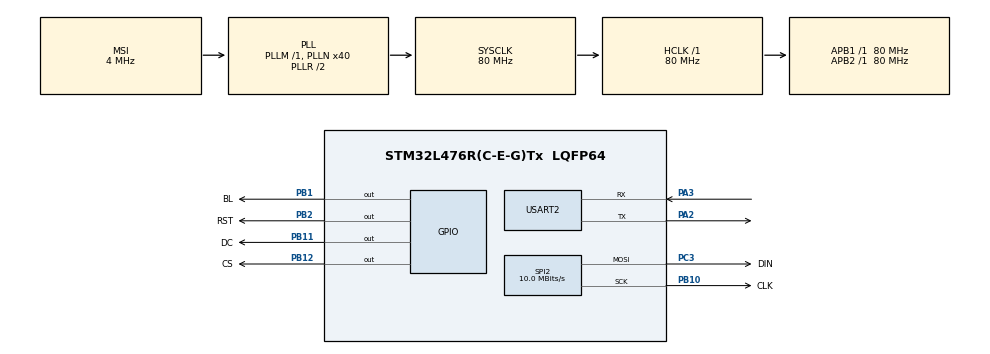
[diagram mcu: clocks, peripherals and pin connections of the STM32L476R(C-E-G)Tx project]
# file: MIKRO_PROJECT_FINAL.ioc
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Dma.Request0=SPI2_TX
Dma.SPI2_TX.0.Direction=DMA_MEMORY_TO_PERIPH
Dma.SPI2_TX.0.Instance=DMA1_Channel5
Dma.SPI2_TX.0.MemDataAlignment=DMA_MDATAALIGN_BYTE
Dma.SPI2_TX.0.MemInc=DMA_MINC_ENABLE
Dma.SPI2_TX.0.Mode=DMA_NORMAL
Dma.SPI2_TX.0.PeriphDataAlignment=DMA_PDATAALIGN_BYTE
Dma.SPI2_TX.0.PeriphInc=DMA_PINC_DISABLE
Dma.SPI2_TX.0.Priority=DMA_PRIORITY_LOW
Mcu.Family=STM32L4
Mcu.Name=STM32L476R(C-E-G)Tx
Mcu.Package=LQFP64
NVIC.DMA1_Channel5_IRQn=true\:2\:0\:true\:false\:true\:false\:true\:true
NVIC.PriorityGroup=NVIC_PRIORITYGROUP_4
NVIC.SPI2_IRQn=true\:2\:0\:true\:false\:true\:true\:true\:true
NVIC.USART2_IRQn=true\:1\:0\:true\:false\:true\:true\:true\:true
PA13\ (JTMS-SWDIO).Mode=Serial_Wire
PA13\ (JTMS-SWDIO).Signal=SYS_JTMS-SWDIO
PA14\ (JTCK-SWCLK).Mode=Serial_Wire
PA14\ (JTCK-SWCLK).Signal=SYS_JTCK-SWCLK
PA2.Mode=Asynchronous
PA2.Signal=USART2_TX
PA3.Mode=Asynchronous
PA3.Signal=USART2_RX
PB1.GPIO_Label=BL
PB1.PinState=GPIO_PIN_RESET
PB1.Signal=GPIO_Output
PB10.GPIO_Label=CLK
PB10.Mode=TX_Only_Simplex_Unidirect_Master
PB10.Signal=SPI2_SCK
PB11.GPIO_Label=DC
PB11.Signal=GPIO_Output
PB12.GPIO_Label=CS
PB12.Signal=GPIO_Output
PB2.GPIO_Label=RST
PB2.Signal=GPIO_Output
PC3.GPIO_Label=DIN
PC3.Mode=TX_Only_Simplex_Unidirect_Master
PC3.Signal=SPI2_MOSI
ProjectManager.HeapSize=0x300
ProjectManager.StackSize=0x1000
ProjectManager.TargetToolchain=STM32CubeIDE
RCC.AHBFreq_Value=80000000
RCC.APB1Freq_Value=80000000
RCC.APB1TimFreq_Value=80000000
RCC.APB2Freq_Value=80000000
RCC.APB2TimFreq_Value=80000000
RCC.CortexFreq_Value=80000000
RCC.HCLKFreq_Value=80000000
RCC.HSE_VALUE=8000000
RCC.HSI_VALUE=16000000
RCC.LSE_VALUE=32768
RCC.MSI_VALUE=4000000
RCC.PLLN=40
RCC.SYSCLKFreq_VALUE=80000000
RCC.SYSCLKSource=RCC_SYSCLKSOURCE_PLLCLK
RCC.VCOOutputFreq_Value=160000000
SPI2.BaudRatePrescaler=SPI_BAUDRATEPRESCALER_8
SPI2.CalculateBaudRate=10.0 MBits/s
SPI2.DataSize=SPI_DATASIZE_8BIT
SPI2.Direction=SPI_DIRECTION_2LINES
SPI2.Mode=SPI_MODE_MASTER
SPI2.NSSPMode=SPI_NSS_PULSE_DISABLE
SPI2.VirtualType=VM_MASTER
USART2.VirtualMode-Asynchronous=VM_ASYNC
board=custom

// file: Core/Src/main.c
/* USER CODE BEGIN Header */
/**
  ******************************************************************************
  * @file           : main.c
  * @brief          : Main program body
  ******************************************************************************
  * @attention
  *
  * Copyright (c) 2024 STMicroelectronics.
  * All rights reserved.
  *
  * This software is licensed under terms that can be found in the LICENSE file
  * in the root directory of this software component.
  * If no LICENSE file comes with this software, it is provided AS-IS.
  *
  ******************************************************************************
  */
/* USER CODE END Header */
#include "main.h"
#include "dma.h"
#include "spi.h"
#include "usart.h"
#include "gpio.h"

/* USER CODE BEGIN Includes */
#include "spi.h"
#include "lcd.h"
#include "USART_ringbuffer.h"
#include "frame.h"
#include "hagl.h"
/* USER CODE END Includes */

/* USER CODE BEGIN PV */

volatile uint32_t tick;

/* USER CODE END PV */

void SystemClock_Config(void);
/* USER CODE BEGIN PFP */
void delay(uint32_t delayMs);
/* USER CODE END PFP */

/* USER CODE BEGIN 0 */
static void waitForFrame(void)
{
	if (USART_kbhit()) {
	        uint8_t receivedChar = USART_getchar();
	        processReceivedChar(receivedChar);
	 }
}
void delay(uint32_t delayMs){
	uint32_t startTime = tick;
	while(tick < (startTime+delayMs));
}
/* USER CODE END 0 */

int main(void)
{

  /* MCU Configuration--------------------------------------------------------*/

  /* Reset of all peripherals, Initializes the Flash interface and the Systick. */
  HAL_Init();

  /* Configure the system clock */
  SystemClock_Config();

  /* USER CODE BEGIN SysInit */

  SysTick_Config( 80000000 / 1000 ); //ustawienie systicka na 1 ms

  /* USER CODE END SysInit */

  /* Initialize all configured peripherals */
  MX_GPIO_Init();
  MX_DMA_Init();
  MX_USART2_UART_Init();
  MX_SPI2_Init();

  /* Infinite loop */
  /* USER CODE BEGIN WHILE */
  while (1)
  {
	  waitForFrame();
    /* USER CODE END WHILE */

  }
}

void SystemClock_Config(void)
{
  RCC_OscInitTypeDef RCC_OscInitStruct = {0};
  RCC_ClkInitTypeDef RCC_ClkInitStruct = {0};

  /** Configure the main internal regulator output voltage
  */
  if (HAL_PWREx_ControlVoltageScaling(PWR_REGULATOR_VOLTAGE_SCALE1) != HAL_OK)
  {
    Error_Handler();
  }

  /** Initializes the RCC Oscillators according to the specified parameters
  * in the RCC_OscInitTypeDef structure.
  */
  RCC_OscInitStruct.OscillatorType = RCC_OSCILLATORTYPE_MSI;
  RCC_OscInitStruct.MSIState = RCC_MSI_ON;
  RCC_OscInitStruct.MSICalibrationValue = 0;
  RCC_OscInitStruct.MSIClockRange = RCC_MSIRANGE_6;
  RCC_OscInitStruct.PLL.PLLState = RCC_PLL_ON;
  RCC_OscInitStruct.PLL.PLLSource = RCC_PLLSOURCE_MSI;
  RCC_OscInitStruct.PLL.PLLM = 1;
  RCC_OscInitStruct.PLL.PLLN = 40;
  RCC_OscInitStruct.PLL.PLLP = RCC_PLLP_DIV7;
  RCC_OscInitStruct.PLL.PLLQ = RCC_PLLQ_DIV2;
  RCC_OscInitStruct.PLL.PLLR = RCC_PLLR_DIV2;
  if (HAL_RCC_OscConfig(&RCC_OscInitStruct) != HAL_OK)
  {
    Error_Handler();
  }

  /** Initializes the CPU, AHB and APB buses clocks
  */
  RCC_ClkInitStruct.ClockType = RCC_CLOCKTYPE_HCLK|RCC_CLOCKTYPE_SYSCLK
                              |RCC_CLOCKTYPE_PCLK1|RCC_CLOCKTYPE_PCLK2;
  RCC_ClkInitStruct.SYSCLKSource = RCC_SYSCLKSOURCE_PLLCLK;
  RCC_ClkInitStruct.AHBCLKDivider = RCC_SYSCLK_DIV1;
  RCC_ClkInitStruct.APB1CLKDivider = RCC_HCLK_DIV1;
  RCC_ClkInitStruct.APB2CLKDivider = RCC_HCLK_DIV1;

  if (HAL_RCC_ClockConfig(&RCC_ClkInitStruct, FLASH_LATENCY_4) != HAL_OK)
  {
    Error_Handler();
  }
}

void Error_Handler(void)
{
  __disable_irq();
  while (1)
  {
  }
}
